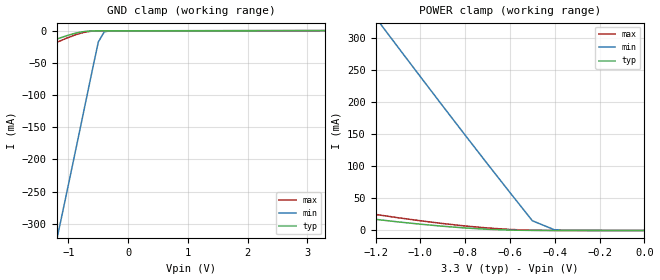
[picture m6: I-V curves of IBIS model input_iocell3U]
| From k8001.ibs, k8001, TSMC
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|   Model input_iocell3U
[Model]   input_iocell3U
Model_type   Input
Polarity   Non-Inverting
Vinl =   0.8V
Vinh =   2.0V
C_comp   2.49e-12F   2.62e-12F   2.11e-12F
[Temperature Range]   25   125   0
[Voltage Range]   3.30V   3.00V   3.60V
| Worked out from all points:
|   GND clamp passes 1 mA (typ) near -0.70 V on its own axis
|   POWER clamp passes 1 mA (typ) near -0.63 V on its own axis
[POWER_clamp]
| voltage   I(typ)   I(min)   I(max)
-3.3V     141.8mA    1.34A      171.6mA
-2.8V     106.5mA    1.095A     131.4mA
-2.2V     68.79mA    805.3mA    87.66mA
-1.7V     40.91mA    567.2mA    54.38mA
-1.2V     17.38mA    332.7mA    25.04mA
-1.1V     13.41mA    286.3mA    19.91mA
-800mV    3.914mA    148.8mA    7.021mA
-600mV    574.4uA    59.23mA    1.576mA
-500mV    107.2uA    15.15mA    331.7uA
-400mV    35.58uA    884.2uA    51.54uA
0V        113.5nA    122.1nA    127.7nA
[GND_clamp]
| voltage   I(typ)   I(min)   I(max)
-3.3V     -87.34mA   -1.18A     -99.85mA
-2.4V     -57.22mA   -829.6mA   -67.87mA
-1.2V     -13.33mA   -326.4mA   -18.32mA
-1.1V     -10.07mA   -282.7mA   -14.38mA
-800mV    -2.27mA    -150.1mA   -4.168mA
-700mV    -1.002mA   -105.5mA   -1.956mA
-500mV    -322.9uA   -17.56mA   -367.4uA
-400mV    -291.1uA   -1.775mA   -316.8uA
-200mV    -274.2uA   -255.7uA   -297.7uA
3.3V      113.5nA    70.42uA    -23.38uA
